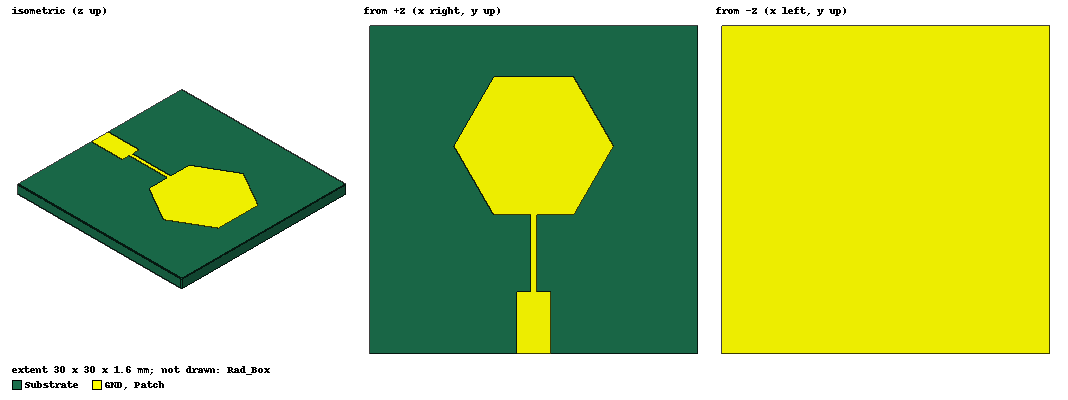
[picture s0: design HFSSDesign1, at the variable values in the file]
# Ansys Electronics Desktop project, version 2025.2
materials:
  vacuum: permittivity=1
  FR4_epoxy: permittivity=4.4 dielectric_loss_tangent=0.02

design HFSSDesign1 (HFSS, HFSS Modal Network, model units mm)
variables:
  gnd = 0mm
  SubSizeX = 30mm
  SubSizeY = 30mm
  SubSizeZ = 1.6mm
  PatchCenX = 0mm
  PatchCenY = 4mm
  Radius = 7.3mm
  msW = 0.6mm
  msL = 7mm
  FeedLineW = 3.08mm
  RadBoxX = 55.6mm
  RadBoxY = 55.6mm
  RadBoxZ = 27.3mm
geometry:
  GND = rectangle(corner=(-SubSizeX/2, -SubSizeY/2, gnd), x_size=SubSizeX, y_size=SubSizeY)
  Substrate [FR4_epoxy] = box(corner=(-SubSizeX/2, -SubSizeY/2, gnd), size=(SubSizeX, SubSizeY, SubSizeZ))
  Patch = regular_polygon(axis=Z, centre=(PatchCenX, PatchCenY, SubSizeZ), first_corner=(-Radius, PatchCenY, SubSizeZ), sides=6)
  MicroStripLine = rectangle(corner=(PatchCenX-msW/2, PatchCenY-Radius*sqrt(3)/2, SubSizeZ), x_size=msW, y_size=-msL)
  Patch.unite(MicroStripLine)
  FiftyOhmFeedLine = rectangle(corner=(PatchCenX-FeedLineW/2, PatchCenY-msL-Radius*sqrt(3)/2, SubSizeZ), x_size=FeedLineW, y_size=-(PatchCenY-msL-Radius*sqrt(3)/2 + SubSizeY/2))
  Patch.unite(FiftyOhmFeedLine)
  Port = rectangle(corner=(PatchCenX-FeedLineW/2, -SubSizeY/2, SubSizeZ), z_size=-SubSizeZ, x_size=FeedLineW)
  Rad_Box [vacuum] = box(corner=(-RadBoxX/2, -RadBoxY/2, -RadBoxZ/2), size=(RadBoxX, RadBoxY, RadBoxZ))
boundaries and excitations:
  PerfE1: Perfect E Objects=[GND, Patch]
  Rad1: Radiation Objects=Rad_Box
  2: Lumped Port Objects=Port LumpedPortType=Modal Modes{Mode1{IntLine{(0, -15, 0) -> (0, -15, 1.6)} CharImp=Zpi RenormImp=50ohm}} Impedance=50ohm
  reference conductors: GND
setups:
  Setup1: HfssDriven Frequency=5.85GHz MaxDeltaS=0.02 MaximumPasses=20 MinimumPasses=1 MinimumConvergedPasses=1 PercentRefinement=30 BasisOrder=1 PortAccuracy=2 DrivenSolverType="Direct Solver"
    sweep Sweep: 2.925GHz to 8.775GHz, 401 points; Type=Interpolating InterpTolerance=0.5 InterpMaxSolns=250 InterpUsePortImped=false PassivityErrorTolerance=0.0001
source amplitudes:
  2:1: 1V 0deg
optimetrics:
  ParametricSetup1: Parametric Sim._Setups=[Setup1]
    sweep Radius: LIN 6.8mm 7.8mm 0.1mm
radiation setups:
  Infinite Sphere1: Infinite Sphere Theta=0deg..180deg step 2deg Phi=0deg..360deg step 2deg
  antenna array: ParametricArray DesignFrequency=1GHz LayoutType=1 CenterCellX=0mm CenterCellY=0mm CenterCellZ=0mm SpecifyDesignInWavelength WidthSpacing=14.9896229mm WidthSpacingInWavelength=0.05 Width=119.9169832mm WidthInWavelength=0.4 LengthSpacing=14.9896229mm LengthSpacingInWavelength=0.05 Length=89.9377374mm LengthInWavelength=0.3 SymmetryType=0 StaggerAngle=0deg StaggerType=0 UDirnX=1 UDirnY=0 UDirnZ=0 VDirnX=0 VDirnY=1 VDirnZ=0 WeightType=3 EdgeTaperX_db=-200 CosineExp=1 DifferentialType=0 Behavior=UseScanAngle ScanAnglePhi=45deg ScanAngleTheta=45deg UDirnPhaseShift=0deg VDirnPhaseShift=0deg
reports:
  Terminal S Parameter Plot1: dB(St(Patch_T1,Patch_T1)) vs Freq on Setup1 : Sweep; markers m1 at 5.864625GHz
  Gain Plot1: dB(GainTotal) vs Theta on Setup1 : LastAdaptive, Infinite Sphere1 [Phi=all Freq=5.85GHz]
  Gain Plot2: dB(GainTotal) vs Phi, Theta on Setup1 : LastAdaptive, Infinite Sphere1 [Freq=5.85GHz]
  Terminal S Parameter Plot2: dB(St(Patch_T1,Patch_T1)) vs Freq on Setup1 : Sweep [Radius=all]; markers m1 at 5.11875GHz, m2 at 5.133375GHz, m3 at 5.17725GHz, m4 at 5.23575GHz, m5 at 5.308875GHz, m6 at 5.367375GHz, m7 at 5.425875GHz, m8 at 5.499GHz, m9 at 5.5575GHz, m10 at 5.64525GHz, m11 at 5.70375GHz, m12 at 5.776875GHz, m13 at 6.127875GHz, m14 at 6.069375GHz, m15 at 5.99625GHz, m16 at 5.923125GHz
  Terminal S Parameter Plot3: dB(St(Patch_T1,Patch_T1)) vs Freq on Setup1 : Sweep [Radius=all]; markers m1 at 5.104125GHz, m2 at 5.133375GHz, m3 at 5.17725GHz, m4 at 5.23575GHz, m5 at 5.308875GHz, m6 at 5.367375GHz, m7 at 5.425875GHz, m8 at 5.499GHz, m9 at 5.5575GHz, m10 at 5.64525GHz, m11 at 5.70375GHz, m12 at 5.776875GHz, m13 at 5.85GHz, m14 at 5.923125GHz, m15 at 5.99625GHz, m16 at 6.05475GHz
  S Parameter Plot1: dB(S(2,2)) vs Freq on Setup1 : Sweep [Radius=all]; markers m1 at 5.864625GHz, m2 at 5.7430812GHz, m3 at 5.9579299GHz
